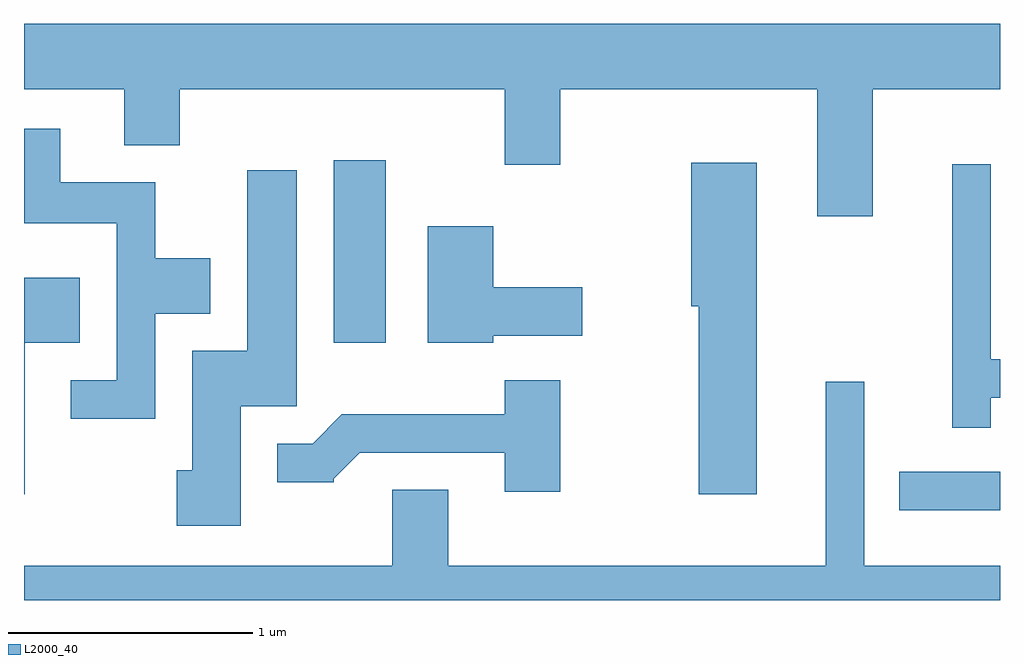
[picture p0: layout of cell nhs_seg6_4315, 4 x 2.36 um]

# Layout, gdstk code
import gdstk
lib = gdstk.Library(unit=1e-6, precision=1e-09)
def R(c, l, rs):  # rectangles x0, y0, x1, y1
    for r in rs: c.add(gdstk.rectangle(r[:2], r[2:], *l))
def P(c, l, *ps):  # polygons
    for p in ps: c.add(gdstk.Polygon(p, *l))
L2000_40 = (2000, 40)

nhs_seg6_4315 = lib.new_cell('nhs_seg6_4315')
R(nhs_seg6_4315, L2000_40, [(321.198,1550.531,321.611,1550.689), (318.881,1551.216,319.094,1551.964)])
P(nhs_seg6_4315, L2000_40, [(321.089,1552.256),(321.611,1552.256),(321.611,1552.524),(317.611,1552.524),(317.611,1552.256),(318.021,1552.256),(318.021,1552.026),(318.249,1552.026),(318.249,1552.256),(319.581,1552.256),(319.581,1551.946),(319.809,1551.946),(319.809,1552.256),(320.861,1552.256),(320.861,1551.736),(321.089,1551.736)],
  [(318.149,1551.336),(318.374,1551.336),(318.374,1551.564),(318.149,1551.564),(318.149,1551.874),(317.759,1551.874),(317.759,1552.094),(317.611,1552.094),(317.611,1551.706),(317.991,1551.706),(317.991,1551.064),(317.803,1551.064),(317.803,1550.906),(318.149,1550.906)],
  [(320.614,1551.954),(320.346,1551.954),(320.346,1551.366),(320.376,1551.366),(320.376,1550.596),(320.614,1550.596)],
  [(321.574,1550.991),(321.611,1550.991),(321.611,1551.149),(321.574,1551.149),(321.574,1551.948),(321.416,1551.948),(321.416,1550.868),(321.574,1550.868)],
  [(318.499,1550.956),(318.729,1550.956),(318.729,1551.924),(318.526,1551.924),(318.526,1551.184),(318.301,1551.184),(318.301,1550.694),(318.236,1550.694),(318.236,1550.466),(318.499,1550.466)],
  [(319.534,1551.246),(319.899,1551.246),(319.899,1551.444),(319.534,1551.444),(319.534,1551.694),(319.266,1551.694),(319.266,1551.216),(319.534,1551.216)],
  [(317.614,1551.216),(317.839,1551.216),(317.839,1551.484),(317.611,1551.484),(317.611,1550.596),(317.614,1550.596)],
  [(319.809,1551.064),(319.581,1551.064),(319.581,1550.924),(318.914,1550.924),(318.794,1550.804),(318.648,1550.804),(318.648,1550.646),(318.88,1550.646),(318.88,1550.66),(318.987,1550.766),(319.581,1550.766),(319.581,1550.606),(319.809,1550.606)],
  [(321.611,1550.304),(321.054,1550.304),(321.054,1551.058),(320.896,1551.058),(320.896,1550.304),(319.349,1550.304),(319.349,1550.614),(319.121,1550.614),(319.121,1550.304),(317.611,1550.304),(317.611,1550.162),(321.611,1550.162)])

lib.write_gds('nhs_seg6_4315.gds')
